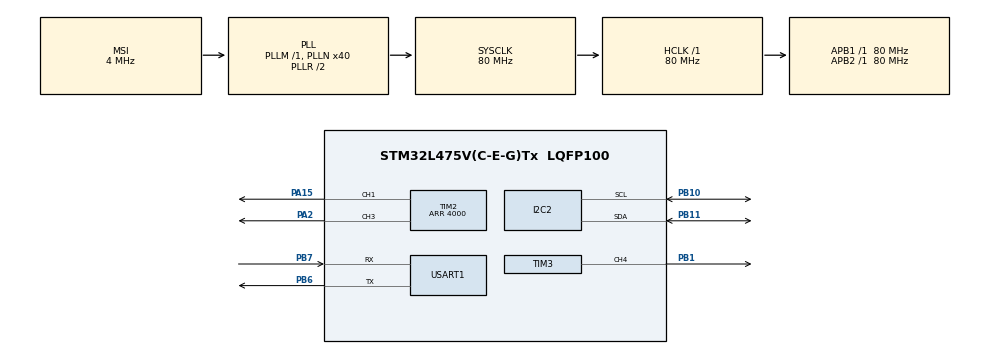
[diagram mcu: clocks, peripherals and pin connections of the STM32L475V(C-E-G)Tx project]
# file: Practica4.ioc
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I2C2.Timing=0x10909CEC
Mcu.Family=STM32L4
Mcu.Name=STM32L475V(C-E-G)Tx
Mcu.Package=LQFP100
NVIC.PriorityGroup=NVIC_PRIORITYGROUP_4
PA15\ (JTDI).Signal=S_TIM2_CH1
PA2.Signal=S_TIM2_CH3
PB1.Signal=S_TIM3_CH4
PB10.Mode=I2C
PB10.Signal=I2C2_SCL
PB11.Mode=I2C
PB11.Signal=I2C2_SDA
PB6.Mode=Asynchronous
PB6.Signal=USART1_TX
PB7.Mode=Asynchronous
PB7.Signal=USART1_RX
ProjectManager.HeapSize=0x200
ProjectManager.StackSize=0x400
ProjectManager.TargetToolchain=STM32CubeIDE
RCC.AHBFreq_Value=80000000
RCC.APB1Freq_Value=80000000
RCC.APB1TimFreq_Value=80000000
RCC.APB2Freq_Value=80000000
RCC.APB2TimFreq_Value=80000000
RCC.CortexFreq_Value=80000000
RCC.HCLKFreq_Value=80000000
RCC.HSE_VALUE=8000000
RCC.HSI_VALUE=16000000
RCC.LSE_VALUE=32768
RCC.MSI_VALUE=4000000
RCC.PLLN=40
RCC.SYSCLKFreq_VALUE=80000000
RCC.SYSCLKSource=RCC_SYSCLKSOURCE_PLLCLK
RCC.VCOOutputFreq_Value=160000000
SH.S_TIM2_CH1.0=TIM2_CH1,PWM Generation1 CH1
SH.S_TIM2_CH3.0=TIM2_CH3,PWM Generation3 CH3
SH.S_TIM3_CH4.0=TIM3_CH4,PWM Generation4 CH4
TIM2.Channel-PWM\ Generation1\ CH1=TIM_CHANNEL_1
TIM2.Channel-PWM\ Generation3\ CH3=TIM_CHANNEL_3
TIM2.Period=4000
TIM3.Channel-PWM\ Generation4\ CH4=TIM_CHANNEL_4
TIM3.Period=20000
TIM3.Prescaler=79
USART1.VirtualMode-Asynchronous=VM_ASYNC
board=custom

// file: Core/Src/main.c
/* USER CODE BEGIN Header */
/**
  ******************************************************************************
  * @file           : main.c
  * @brief          : Main program body
  ******************************************************************************
  * @attention
  *
  * <h2><center>&copy; Copyright (c) 2023 STMicroelectronics.
  * All rights reserved.</center></h2>
  *
  * This software component is licensed by ST under BSD 3-Clause license,
  * the "License"; You may not use this file except in compliance with the
  * License. You may obtain a copy of the License at:
  *                        opensource.org/licenses/BSD-3-Clause
  *
  ******************************************************************************
  */
/* USER CODE END Header */

#include "main.h"

I2C_HandleTypeDef hi2c2;

TIM_HandleTypeDef htim2;
TIM_HandleTypeDef htim3;

UART_HandleTypeDef huart1;

void SystemClock_Config(void);
static void MX_GPIO_Init(void);
static void MX_I2C2_Init(void);
static void MX_TIM2_Init(void);
static void MX_TIM3_Init(void);
static void MX_USART1_UART_Init(void);

/* USER CODE BEGIN 0 */
void setMotorSpeed (float speed){
	if(speed >= 0){
		__HAL_TIM_SET_COMPARE(&htim2, TIM_CHANNEL_1, speed);
		__HAL_TIM_SET_COMPARE(&htim2, TIM_CHANNEL_3, 0);
	}else{
		__HAL_TIM_SET_COMPARE(&htim2, TIM_CHANNEL_3, -speed);
		__HAL_TIM_SET_COMPARE(&htim2, TIM_CHANNEL_1, 0);
	}
}

void initAccelerometer(void){
	uint8_t buffer[1];
	buffer[0] = 0x40;
	HAL_I2C_Mem_Write(&hi2c2, 0xD4, 0x10, I2C_MEMADD_SIZE_8BIT, buffer, 1, 1000);
}

int16_t readAccel(uint8_t axxis){
	int16_t accel;
	uint8_t buffer[2];
	if(axxis == 0){
		HAL_I2C_Mem_Read(&hi2c2, 0xd4, 0x28, I2C_MEMADD_SIZE_8BIT, buffer, 2, 1000);

	}else if( axxis == 1){
		HAL_I2C_Mem_Read(&hi2c2, 0xd4, 0x2a, I2C_MEMADD_SIZE_8BIT, buffer, 2, 1000);

	}else if (axxis == 2){
		HAL_I2C_Mem_Read(&hi2c2, 0xd4, 0x2c, I2C_MEMADD_SIZE_8BIT, buffer, 2, 1000);

	}
	accel = ((int16_t)(buffer[1]<<8) | buffer[0]) * 0.061;
}

void setServoPos(float ang){
	float th = ((ang * 200) / 18);
	__HAL_TIM_SET_COMPARE(&htim3, TIM_CHANNEL_4, th);
}

/* USER CODE END 0 */

int main(void)
{

  /* MCU Configuration--------------------------------------------------------*/

  /* Reset of all peripherals, Initializes the Flash interface and the Systick. */
  HAL_Init();

  /* Configure the system clock */
  SystemClock_Config();

  /* Initialize all configured peripherals */
  MX_GPIO_Init();
  MX_I2C2_Init();
  MX_TIM2_Init();
  MX_TIM3_Init();
  MX_USART1_UART_Init();
  /* USER CODE BEGIN 2 */
  HAL_TIM_PWM_Start(&htim2, TIM_CHANNEL_1);
  HAL_TIM_PWM_Start(&htim2, TIM_CHANNEL_3);
  initAccelerometer();
  //HAL_TIM_PWM_Start(&htim2, TIM_CHANNEL_4);
  HAL_TIM_PWM_Start(&htim3, TIM_CHANNEL_4);

  /* USER CODE END 2 */

  /* Infinite loop */
  /* USER CODE BEGIN WHILE */
  while (1)
  {
	  int16_t ejeY;
	  ejeY = readAccel(1);
	  ejeY = ejeY * 4;
	  setMotorSpeed(ejeY);

	  int16_t ejeX;
	  ejeX = readAccel(1);
	  int16_t escalado = (((ejeX - (-1000)) * (180-0)) / (1000 - (-1000))) + 0;
	  setServoPos(escalado);
	  HAL_Delay(100);
    /* USER CODE END WHILE */

  }
}

void SystemClock_Config(void)
{
  RCC_OscInitTypeDef RCC_OscInitStruct = {0};
  RCC_ClkInitTypeDef RCC_ClkInitStruct = {0};
  RCC_PeriphCLKInitTypeDef PeriphClkInit = {0};

  /** Initializes the CPU, AHB and APB busses clocks
  */
  RCC_OscInitStruct.OscillatorType = RCC_OSCILLATORTYPE_MSI;
  RCC_OscInitStruct.MSIState = RCC_MSI_ON;
  RCC_OscInitStruct.MSICalibrationValue = 0;
  RCC_OscInitStruct.MSIClockRange = RCC_MSIRANGE_6;
  RCC_OscInitStruct.PLL.PLLState = RCC_PLL_ON;
  RCC_OscInitStruct.PLL.PLLSource = RCC_PLLSOURCE_MSI;
  RCC_OscInitStruct.PLL.PLLM = 1;
  RCC_OscInitStruct.PLL.PLLN = 40;
  RCC_OscInitStruct.PLL.PLLP = RCC_PLLP_DIV7;
  RCC_OscInitStruct.PLL.PLLQ = RCC_PLLQ_DIV2;
  RCC_OscInitStruct.PLL.PLLR = RCC_PLLR_DIV2;
  if (HAL_RCC_OscConfig(&RCC_OscInitStruct) != HAL_OK)
  {
    Error_Handler();
  }
  /** Initializes the CPU, AHB and APB busses clocks
  */
  RCC_ClkInitStruct.ClockType = RCC_CLOCKTYPE_HCLK|RCC_CLOCKTYPE_SYSCLK
                              |RCC_CLOCKTYPE_PCLK1|RCC_CLOCKTYPE_PCLK2;
  RCC_ClkInitStruct.SYSCLKSource = RCC_SYSCLKSOURCE_PLLCLK;
  RCC_ClkInitStruct.AHBCLKDivider = RCC_SYSCLK_DIV1;
  RCC_ClkInitStruct.APB1CLKDivider = RCC_HCLK_DIV1;
  RCC_ClkInitStruct.APB2CLKDivider = RCC_HCLK_DIV1;

  if (HAL_RCC_ClockConfig(&RCC_ClkInitStruct, FLASH_LATENCY_4) != HAL_OK)
  {
    Error_Handler();
  }
  PeriphClkInit.PeriphClockSelection = RCC_PERIPHCLK_USART1|RCC_PERIPHCLK_I2C2;
  PeriphClkInit.Usart1ClockSelection = RCC_USART1CLKSOURCE_PCLK2;
  PeriphClkInit.I2c2ClockSelection = RCC_I2C2CLKSOURCE_PCLK1;
  if (HAL_RCCEx_PeriphCLKConfig(&PeriphClkInit) != HAL_OK)
  {
    Error_Handler();
  }
  /** Configure the main internal regulator output voltage
  */
  if (HAL_PWREx_ControlVoltageScaling(PWR_REGULATOR_VOLTAGE_SCALE1) != HAL_OK)
  {
    Error_Handler();
  }
}

static void MX_I2C2_Init(void)
{

  hi2c2.Instance = I2C2;
  hi2c2.Init.Timing = 0x10909CEC;
  hi2c2.Init.OwnAddress1 = 0;
  hi2c2.Init.AddressingMode = I2C_ADDRESSINGMODE_7BIT;
  hi2c2.Init.DualAddressMode = I2C_DUALADDRESS_DISABLE;
  hi2c2.Init.OwnAddress2 = 0;
  hi2c2.Init.OwnAddress2Masks = I2C_OA2_NOMASK;
  hi2c2.Init.GeneralCallMode = I2C_GENERALCALL_DISABLE;
  hi2c2.Init.NoStretchMode = I2C_NOSTRETCH_DISABLE;
  if (HAL_I2C_Init(&hi2c2) != HAL_OK)
  {
    Error_Handler();
  }
  /** Configure Analogue filter
  */
  if (HAL_I2CEx_ConfigAnalogFilter(&hi2c2, I2C_ANALOGFILTER_ENABLE) != HAL_OK)
  {
    Error_Handler();
  }
  /** Configure Digital filter
  */
  if (HAL_I2CEx_ConfigDigitalFilter(&hi2c2, 0) != HAL_OK)
  {
    Error_Handler();
  }

}

static void MX_TIM2_Init(void)
{

  TIM_MasterConfigTypeDef sMasterConfig = {0};
  TIM_OC_InitTypeDef sConfigOC = {0};

  htim2.Instance = TIM2;
  htim2.Init.Prescaler = 0;
  htim2.Init.CounterMode = TIM_COUNTERMODE_UP;
  htim2.Init.Period = 4000;
  htim2.Init.ClockDivision = TIM_CLOCKDIVISION_DIV1;
  htim2.Init.AutoReloadPreload = TIM_AUTORELOAD_PRELOAD_DISABLE;
  if (HAL_TIM_PWM_Init(&htim2) != HAL_OK)
  {
    Error_Handler();
  }
  sMasterConfig.MasterOutputTrigger = TIM_TRGO_RESET;
  sMasterConfig.MasterSlaveMode = TIM_MASTERSLAVEMODE_DISABLE;
  if (HAL_TIMEx_MasterConfigSynchronization(&htim2, &sMasterConfig) != HAL_OK)
  {
    Error_Handler();
  }
  sConfigOC.OCMode = TIM_OCMODE_PWM1;
  sConfigOC.Pulse = 0;
  sConfigOC.OCPolarity = TIM_OCPOLARITY_HIGH;
  sConfigOC.OCFastMode = TIM_OCFAST_DISABLE;
  if (HAL_TIM_PWM_ConfigChannel(&htim2, &sConfigOC, TIM_CHANNEL_1) != HAL_OK)
  {
    Error_Handler();
  }
  if (HAL_TIM_PWM_ConfigChannel(&htim2, &sConfigOC, TIM_CHANNEL_3) != HAL_OK)
  {
    Error_Handler();
  }
  HAL_TIM_MspPostInit(&htim2);

}

static void MX_TIM3_Init(void)
{

  TIM_MasterConfigTypeDef sMasterConfig = {0};
  TIM_OC_InitTypeDef sConfigOC = {0};

  htim3.Instance = TIM3;
  htim3.Init.Prescaler = 79;
  htim3.Init.CounterMode = TIM_COUNTERMODE_UP;
  htim3.Init.Period = 20000;
  htim3.Init.ClockDivision = TIM_CLOCKDIVISION_DIV1;
  htim3.Init.AutoReloadPreload = TIM_AUTORELOAD_PRELOAD_DISABLE;
  if (HAL_TIM_PWM_Init(&htim3) != HAL_OK)
  {
    Error_Handler();
  }
  sMasterConfig.MasterOutputTrigger = TIM_TRGO_RESET;
  sMasterConfig.MasterSlaveMode = TIM_MASTERSLAVEMODE_DISABLE;
  if (HAL_TIMEx_MasterConfigSynchronization(&htim3, &sMasterConfig) != HAL_OK)
  {
    Error_Handler();
  }
  sConfigOC.OCMode = TIM_OCMODE_PWM1;
  sConfigOC.Pulse = 0;
  sConfigOC.OCPolarity = TIM_OCPOLARITY_HIGH;
  sConfigOC.OCFastMode = TIM_OCFAST_DISABLE;
  if (HAL_TIM_PWM_ConfigChannel(&htim3, &sConfigOC, TIM_CHANNEL_4) != HAL_OK)
  {
    Error_Handler();
  }
  HAL_TIM_MspPostInit(&htim3);

}

static void MX_USART1_UART_Init(void)
{

  huart1.Instance = USART1;
  huart1.Init.BaudRate = 115200;
  huart1.Init.WordLength = UART_WORDLENGTH_8B;
  huart1.Init.StopBits = UART_STOPBITS_1;
  huart1.Init.Parity = UART_PARITY_NONE;
  huart1.Init.Mode = UART_MODE_TX_RX;
  huart1.Init.HwFlowCtl = UART_HWCONTROL_NONE;
  huart1.Init.OverSampling = UART_OVERSAMPLING_16;
  huart1.Init.OneBitSampling = UART_ONE_BIT_SAMPLE_DISABLE;
  huart1.AdvancedInit.AdvFeatureInit = UART_ADVFEATURE_NO_INIT;
  if (HAL_UART_Init(&huart1) != HAL_OK)
  {
    Error_Handler();
  }

}

static void MX_GPIO_Init(void)
{

  /* GPIO Ports Clock Enable */
  __HAL_RCC_GPIOA_CLK_ENABLE();
  __HAL_RCC_GPIOB_CLK_ENABLE();

}

void Error_Handler(void)
{
}

/************************ (C) COPYRIGHT STMicroelectronics *****END OF FILE****/
